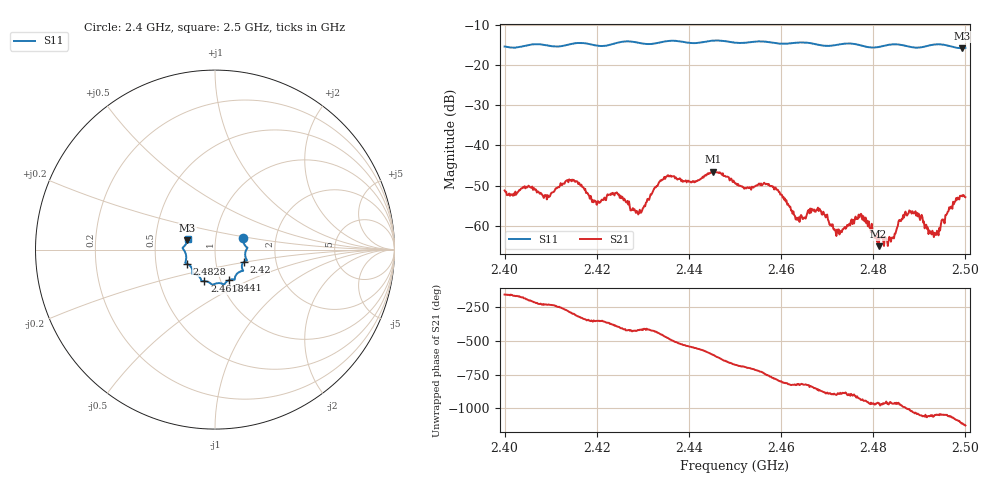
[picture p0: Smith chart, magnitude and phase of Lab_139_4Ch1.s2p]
# Hz S RI R 50
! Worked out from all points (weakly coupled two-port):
!   601 points, 2.4 GHz to 2.5 GHz, reference 50 ohm
!   highest |S21| = -46.49 dB at 2.4452 GHz (marker M1); lowest = -65.0 dB at 2.4812 GHz (marker M2)
!   lowest |S11| = -15.8 dB at 2.4993 GHz (marker M3), VSWR 1.39, Z = 36.5 + j3.85 ohm
!   |S11| at or under -10 dB: start of sweep to end of sweep
!   S12 and S22 are empty: the file has one direction only
!   S11 on the Smith chart (normalised r, x): 2.4 GHz: 1.36, +0.18; 2.42 GHz: 1.36, -0.20; 2.441 GHz: 1.10, -0.39; 2.4618 GHz: 0.84, -0.30; 2.4828 GHz: 0.72, -0.12; 2.5 GHz: 0.73, +0.09
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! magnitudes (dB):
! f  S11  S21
! 2.4 GHz  -15.4  -51.2
! 2.4167 GHz  -14.5  -49.7
! 2.42 GHz  -15.2  -54.7
! 2.4243 GHz  -14.5  -51.6
! 2.4293 GHz  -14.5  -56.0
! 2.4333 GHz  -14.5  -49.6
! 2.441 GHz  -14.6  -48.9
! 2.4452 GHz  -14.0  -46.5
! 2.45 GHz  -14.5  -49.4
! 2.4568 GHz  -14.2  -49.5
! 2.4618 GHz  -14.6  -55.2
! 2.4637 GHz  -14.4  -58.0
! 2.4667 GHz  -14.6  -55.7
! 2.4723 GHz  -15.0  -61.6
! 2.4773 GHz  -15.2  -57.0
! 2.4812 GHz  -15.5  -65.0
! 2.4828 GHz  -15.1  -63.1
! 2.4833 GHz  -15.0  -63.3
! 2.4882 GHz  -15.5  -56.4
! 2.4937 GHz  -14.9  -62.2
! 2.4993 GHz  -15.8  -52.6
! 2.5 GHz  -15.7  -52.9
